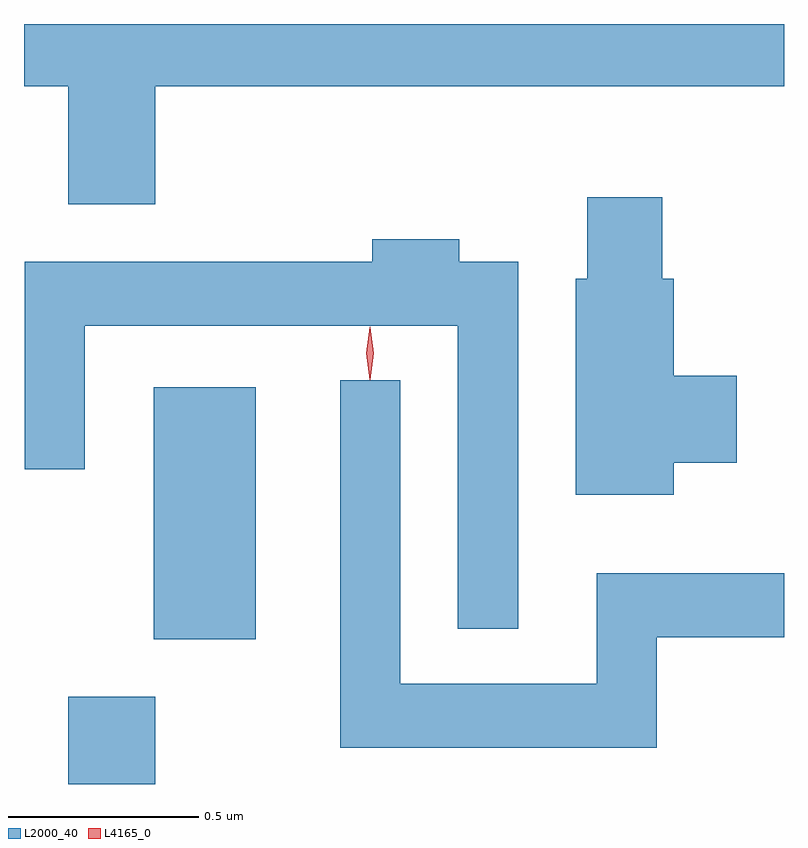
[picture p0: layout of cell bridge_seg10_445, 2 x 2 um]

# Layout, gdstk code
import gdstk
lib = gdstk.Library(unit=1e-6, precision=1e-09)
def R(c, l, rs):  # rectangles x0, y0, x1, y1
    for r in rs: c.add(gdstk.rectangle(r[:2], r[2:], *l))
def P(c, l, *ps):  # polygons
    for p in ps: c.add(gdstk.Polygon(p, *l))
L2000_40 = (2000, 40)
L4165_0 = (4165, 0)

bridge_seg10_445 = lib.new_cell('bridge_seg10_445')
R(bridge_seg10_445, L2000_40, [(1374.251,2083.22,1374.479,2083.449), (1374.476,2083.601,1374.744,2084.264)])
P(bridge_seg10_445, L2000_40, [(1374.479,2085.056),(1376.134,2085.056),(1376.134,2085.22),(1374.134,2085.22),(1374.134,2085.056),(1374.251,2085.056),(1374.251,2084.746),(1374.479,2084.746)],
  [(1375.844,2084.066),(1376.009,2084.066),(1376.009,2084.294),(1375.844,2084.294),(1375.844,2084.549),(1375.814,2084.549),(1375.814,2084.764),(1375.616,2084.764),(1375.616,2084.549),(1375.586,2084.549),(1375.586,2083.981),(1375.844,2083.981)],
  [(1375.434,2084.594),(1375.279,2084.594),(1375.279,2084.654),(1375.051,2084.654),(1375.051,2084.594),(1374.136,2084.594),(1374.136,2084.048),(1374.294,2084.048),(1374.294,2084.426),(1375.276,2084.426),(1375.276,2083.628),(1375.434,2083.628)],
  [(1375.799,2083.606),(1376.134,2083.606),(1376.134,2083.774),(1375.641,2083.774),(1375.641,2083.484),(1375.124,2083.484),(1375.124,2084.283),(1374.966,2084.283),(1374.966,2083.316),(1375.799,2083.316)])
P(bridge_seg10_445, L4165_0, [(1375.045,2084.283),(1375.044,2084.284),(1375.035,2084.353),(1375.044,2084.422),(1375.045,2084.423),(1375.045,2084.422),(1375.055,2084.353),(1375.045,2084.284)])

lib.write_gds('bridge_seg10_445.gds')
